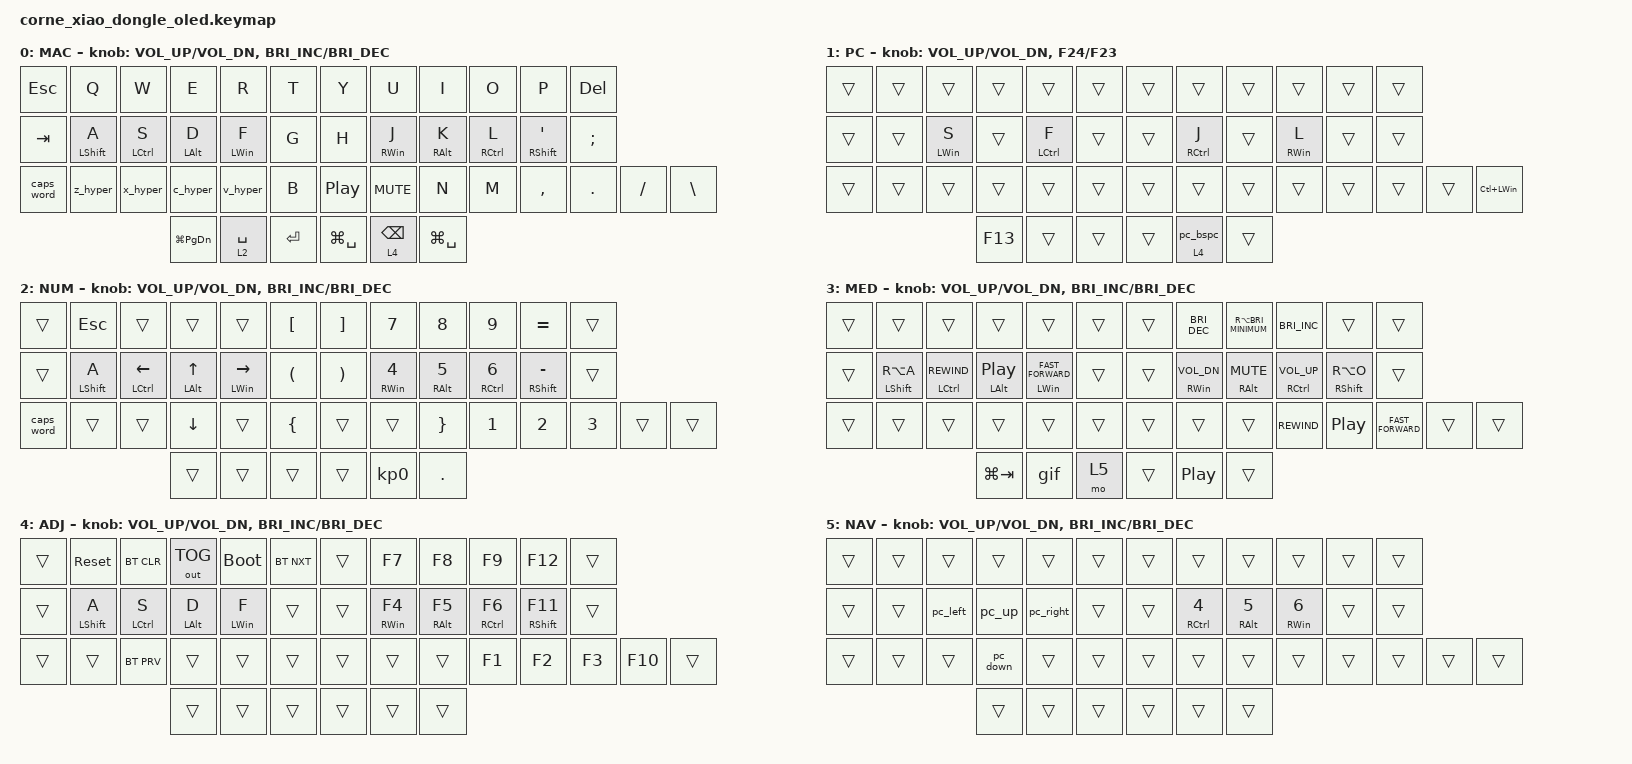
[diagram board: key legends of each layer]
//
//                                                        ▀▀▀▀▀     ▀▀▀▀▀          ▀▀█▀▀
//                                                        ▄▀▀▀▄  ▄  ▄▀▀▀▄  ▄  ▄▀▀▀▄  █  ▄▀▀▀▄
//                                                        █   █  █  █   █  █  █   █  █  █   █
//                                                         ▀▀▀   █   ▀▀▀   █   ▀▀▀   ▀   ▀▀▀
//                                                               █      ▄▄▄█▄▄▄    █   █
//                                                               ▀      █  █  █     █▄█
//                                                             ▀▀▀▀▀    █  █  █      ▀
//                                                                      ▀  ▀  ▀
//
// ▄▄▄▄▄▄▄▄▄▄▄▄▄▄▄▄▄▄▄▄▄▄▄▄▄▄▄▄▄▄▄▄▄▄▄▄▄▄▄▄▄▄▄▄▄▄▄▄▄▄▄▄▄▄▄▄▄▄▄▄▄▄▄▄▄▄▄▄▄▄▄▄▄▄▄▄▄▄▄▄▄▄▄▄▄▄▄▄▄▄▄▄▄▄▄▄▄▄▄▄▄▄▄▄▄▄▄▄▄▄▄▄▄▄▄▄▄▄▄▄▄▄▄▄▄▄▄▄▄▄▄▄▄▄▄▄▄▄▄▄▄▄▄▄▄▄▄▄▄

#include <dt-bindings/zmk/behaviors.h>
#include <behaviors.dtsi>
#include <dt-bindings/zmk/bt.h>
#include <dt-bindings/zmk/keys.h>
#include <dt-bindings/zmk/outputs.h>

#define BASE 0
#define PC 1
#define NUM_NAV 2
#define SYM 3
#define ADJ 4
#define PC_NAV 5

&mt {
    quick-tap-ms = <150>;
    flavor = "balanced";
    tapping-term-ms = <200>;
};

&lt {
    quick-tap-ms = <150>;
    flavor = "balanced";
    tapping-term-ms = <200>;
};

/ {
    combos {
        compatible = "zmk,combos";

        combo_esc {
            timeout-ms = <50>;
            key-positions = <1 2>;
            bindings = <&kp ESC>;
        };

        combo_tvp {
            timeout-ms = <100>;
            key-positions = <14 15 16>;
            bindings = <&tog 0>;
        };

        combo_studio_unlock {
            timeout-ms = <250>;
            key-positions = <1 10>;
            bindings = <&studio_unlock>;
        };
    };

    macros {
        gif: gif {
            label = "giphy";
            compatible = "zmk,behavior-macro";
            #binding-cells = <0>;
            bindings =
                <&macro_press>,
                <&kp LSHFT>,
                <&macro_tap>,
                <&kp N2>,
                <&macro_release>,
                <&kp LSHFT>,
                <&macro_tap>,
                <&kp G &kp I &kp F>;
        };

        delete_line_start_lctrl: delete_line_start_lctrl {
            label = "DELETE_LINE_START_LCTRL";
            compatible = "zmk,behavior-macro";
            #binding-cells = <0>;
            bindings =
                <&macro_press>,
                <&kp LSHFT>,
                <&macro_tap>,
                <&kp HOME>,
                <&macro_release>,
                <&kp LSHFT>,
                <&macro_tap>,
                <&kp BACKSPACE>;
        };

        delete_line_start_rctrl: delete_line_start_rctrl {
            label = "DELETE_LINE_START_RCTRL";
            compatible = "zmk,behavior-macro";
            #binding-cells = <0>;
            bindings =
                <&macro_press>,
                <&kp LSHFT>,
                <&macro_tap>,
                <&kp HOME>,
                <&macro_release>,
                <&kp LSHFT>,
                <&macro_tap>,
                <&kp BACKSPACE>;
        };

        hyper_z_action: hyper_z_action {
            label = "HYPER_Z_ACTION";
            compatible = "zmk,behavior-macro";
            #binding-cells = <0>;
            bindings = <&macro_tap>, <&kp LC(LS(LA(LG(Z))))>;
        };

        hyper_x_action: hyper_x_action {
            label = "HYPER_X_ACTION";
            compatible = "zmk,behavior-macro";
            #binding-cells = <0>;
            bindings = <&macro_tap>, <&kp LC(LS(LA(LG(X))))>;
        };

        hyper_c_action: hyper_c_action {
            label = "HYPER_C_ACTION";
            compatible = "zmk,behavior-macro";
            #binding-cells = <0>;
            bindings = <&macro_tap>, <&kp LC(LS(LA(LG(C))))>;
        };

        hyper_v_action: hyper_v_action {
            label = "HYPER_V_ACTION";
            compatible = "zmk,behavior-macro";
            #binding-cells = <0>;
            bindings = <&macro_tap>, <&kp LC(LS(LA(LG(V))))>;
        };
    };

    behaviors {
        // A mod-morph masks modifiers listed in `mods` by default. Shift is
        // deliberately omitted from the PC navigation morphs so selection
        // remains active across repeated arrow presses.

        bspc_del: bspc_del {
            compatible = "zmk,behavior-mod-morph";
            label = "BSPC_DEL";
            bindings = <&kp BACKSPACE>, <&kp DELETE>;

            #binding-cells = <0>;
            mods = <(MOD_LSFT|MOD_RSFT)>;
        };

        z_hyper_hold: z_hyper_hold {
            compatible = "zmk,behavior-hold-tap";
            label = "Z_HYPER_HOLD";
            #binding-cells = <2>;
            flavor = "tap-preferred";
            tapping-term-ms = <200>;
            bindings = <&hyper_z_action &none>;
        };

        z_hyper: z_hyper {
            compatible = "zmk,behavior-tap-dance";
            label = "Z_HYPER";
            #binding-cells = <0>;
            tapping-term-ms = <200>;
            bindings = <&kp Z>, <&z_hyper_hold 0 0>;
        };

        x_hyper_hold: x_hyper_hold {
            compatible = "zmk,behavior-hold-tap";
            label = "X_HYPER_HOLD";
            #binding-cells = <2>;
            flavor = "tap-preferred";
            tapping-term-ms = <300>;
            bindings = <&hyper_x_action &none>;
        };

        x_hyper: x_hyper {
            compatible = "zmk,behavior-tap-dance";
            label = "X_HYPER";
            #binding-cells = <0>;
            tapping-term-ms = <300>;
            bindings = <&kp X>, <&x_hyper_hold 0 0>;
        };

        c_hyper_hold: c_hyper_hold {
            compatible = "zmk,behavior-hold-tap";
            label = "C_HYPER_HOLD";
            #binding-cells = <2>;
            flavor = "tap-preferred";
            tapping-term-ms = <200>;
            bindings = <&hyper_c_action &none>;
        };

        c_hyper: c_hyper {
            compatible = "zmk,behavior-tap-dance";
            label = "C_HYPER";
            #binding-cells = <0>;
            tapping-term-ms = <200>;
            bindings = <&kp C>, <&c_hyper_hold 0 0>;
        };

        v_hyper_hold: v_hyper_hold {
            compatible = "zmk,behavior-hold-tap";
            label = "V_HYPER_HOLD";
            #binding-cells = <2>;
            flavor = "tap-preferred";
            tapping-term-ms = <200>;
            bindings = <&hyper_v_action &none>;
        };

        v_hyper: v_hyper {
            compatible = "zmk,behavior-tap-dance";
            label = "V_HYPER";
            #binding-cells = <0>;
            tapping-term-ms = <200>;
            bindings = <&kp V>, <&v_hyper_hold 0 0>;
        };

        pc_left_alt: pc_left_alt {
            compatible = "zmk,behavior-mod-morph";
            #binding-cells = <0>;
            bindings = <&kp LEFT>, <&kp LC(LEFT)>;

            mods = <(MOD_LALT|MOD_RALT)>;
        };

        pc_left: pc_left {
            compatible = "zmk,behavior-mod-morph";
            #binding-cells = <0>;
            bindings = <&pc_left_alt>, <&kp HOME>;

            mods = <(MOD_LCTL|MOD_RCTL)>;
        };

        pc_right_alt: pc_right_alt {
            compatible = "zmk,behavior-mod-morph";
            #binding-cells = <0>;
            bindings = <&kp RIGHT>, <&kp LC(RIGHT)>;

            mods = <(MOD_LALT|MOD_RALT)>;
        };

        pc_right: pc_right {
            compatible = "zmk,behavior-mod-morph";
            #binding-cells = <0>;
            bindings = <&pc_right_alt>, <&kp END>;

            mods = <(MOD_LCTL|MOD_RCTL)>;
        };

        pc_up_alt: pc_up_alt {
            compatible = "zmk,behavior-mod-morph";
            #binding-cells = <0>;
            bindings = <&kp UP>, <&kp LC(UP)>;

            mods = <(MOD_LALT|MOD_RALT)>;
        };

        pc_up: pc_up {
            compatible = "zmk,behavior-mod-morph";
            #binding-cells = <0>;
            bindings = <&pc_up_alt>, <&kp LC(HOME)>;

            mods = <(MOD_LCTL|MOD_RCTL)>;
        };

        pc_down_alt: pc_down_alt {
            compatible = "zmk,behavior-mod-morph";
            #binding-cells = <0>;
            bindings = <&kp DOWN>, <&kp LC(DOWN)>;

            mods = <(MOD_LALT|MOD_RALT)>;
        };

        pc_down: pc_down {
            compatible = "zmk,behavior-mod-morph";
            #binding-cells = <0>;
            bindings = <&pc_down_alt>, <&kp LC(END)>;

            mods = <(MOD_LCTL|MOD_RCTL)>;
        };

        pc_bspc_shift: pc_bspc_shift {
            compatible = "zmk,behavior-mod-morph";
            #binding-cells = <0>;
            bindings = <&kp BACKSPACE>, <&kp DELETE>;

            mods = <(MOD_LSFT|MOD_RSFT)>;
        };

        pc_bspc_alt: pc_bspc_alt {
            compatible = "zmk,behavior-mod-morph";
            #binding-cells = <0>;
            bindings = <&pc_bspc_shift>, <&kp LC(BACKSPACE)>;

            mods = <(MOD_LALT|MOD_RALT)>;
        };

        pc_bspc_rctrl: pc_bspc_rctrl {
            compatible = "zmk,behavior-mod-morph";
            #binding-cells = <0>;
            bindings = <&pc_bspc_alt>, <&delete_line_start_rctrl>;

            mods = <MOD_RCTL>;
        };

        pc_bspc: pc_bspc {
            compatible = "zmk,behavior-mod-morph";
            #binding-cells = <0>;
            bindings = <&pc_bspc_rctrl>, <&delete_line_start_lctrl>;

            mods = <MOD_LCTL>;
        };

        pc_bspc_lt: pc_bspc_layer_tap {
            compatible = "zmk,behavior-hold-tap";
            #binding-cells = <2>;
            flavor = "tap-preferred";
            tapping-term-ms = <200>;
            bindings = <&mo>, <&pc_bspc>;
        };
    };

    conditional_layers {
        compatible = "zmk,conditional-layers";

        pc_nav {
            if-layers = <1 2>;
            then-layer = <5>;
        };
    };

    keymap {
        compatible = "zmk,keymap";

        // ▄▄▄▄▄▄▄▄▄▄▄▄▄▄▄▄▄▄▄▄▄▄▄▄▄▄▄▄▄▄▄▄▄▄▄▄▄▄▄▄▄▄▄▄▄▄▄▄▄▄▄▄▄▄▄▄▄▄▄▄▄▄▄▄▄▄▄▄▄▄▄▄▄▄▄▄▄▄▄▄▄▄▄▄▄▄▄▄▄▄▄▄▄▄▄▄▄▄▄▄▄▄▄▄▄▄▄▄▄▄▄▄▄▄▄▄▄▄▄▄▄▄▄▄▄▄▄▄▄▄▄▄▄▄▄▄▄▄▄▄▄▄▄▄▄▄▄▄▄

        base_layer {
            display-name = "MAC";
            sensor-bindings = <&inc_dec_kp C_VOL_UP C_VOL_DN &inc_dec_kp C_BRIGHTNESS_INC C_BRIGHTNESS_DEC>;

            // ┏━━━━━━━━━━━━━━━━━━━━━━━━━━━━━━━━━━━━━━━┓

            label = "MAC";

            // ┗━━━━━━━━━━━━━━━━━━━━━━━━━━━━━━━━━━━━━━━┛
            //             ┏━━━━━━━━━━━┳━━━━━━━━━━━┳━━━━━━━━━━━┳━━━━━━━━━━━┳━━━━━━━━━━━┓   ┏━━━━━━━━━━━┳━━━━━━━━━━━┳━━━━━━━━━━━┳━━━━━━━━━━━┳━━━━━━━━━━━┓
            //             ┃     Q     ┃     W     ┃     F     ┃     P     ┃     G     ┃   ┃     J     ┃     L     ┃     U     ┃     Y     ┃     ;     ┃
            //             ┣━━━━━━━━━━━╋━━━━━━━━━━━╋━━━━━━━━━━━╋━━━━━━━━━━━╋━━━━━━━━━━━┫   ┣━━━━━━━━━━━╋━━━━━━━━━━━╋━━━━━━━━━━━╋━━━━━━━━━━━╋━━━━━━━━━━━┫
            //             ┃     A     ┃     R     ┃     S     ┃     T     ┃     D     ┃   ┃     H     ┃     N     ┃     E     ┃     I     ┃     O     ┃
            // ┏━━━━━━━━━━━╋━━━━━━━━━━━╋━━━━━━━━━━━╋━━━━━━━━━━━╋━━━━━━━━━━━╋━━━━━━━━━━━┫   ┣━━━━━━━━━━━╋━━━━━━━━━━━╋━━━━━━━━━━━╋━━━━━━━━━━━╋━━━━━━━━━━━╋━━━━━━━━━━━┓
            // ┃     Q     ┃     Z     ┃     X     ┃     C     ┃     V     ┃     B     ┃   ┃     K     ┃     M     ┃     ,     ┃     .     ┃     /     ┃     \     ┃
            // ┗━━━━━━━━━━━┻━━━━━━━━━━━┻━━━━━━━━━━━╋━━━━━━━━━━━╋━━━━━━━━━━━╋━━━━━━━━━━━┫   ┣━━━━━━━━━━━╋━━━━━━━━━━━╋━━━━━━━━━━━╋━━━━━━━━━━━┻━━━━━━━━━━━┻━━━━━━━━━━━┛
            //                                     ┃    DEL    ┃    TAB    ┃    SPC    ┃   ┃   ENTER   ┃           ┃   BSPC    ┃
            //                                     ┗━━━━━━━━━━━┻━━━━━━━━━━━┻━━━━━━━━━━━┛   ┗━━━━━━━━━━━┻━━━━━━━━━━━┻━━━━━━━━━━━┛

            bindings = <
&kp ESC     &kp Q             &kp W               &kp E              &kp R        &kp T       &kp Y          &kp U            &kp I            &kp O                &kp P                       &kp DELETE
&kp TAB     &mt LEFT_SHIFT A  &mt LEFT_CONTROL S  &mt LEFT_ALT D     &mt LWIN F   &kp G       &kp H          &mt RWIN J       &mt RIGHT_ALT K  &mt RIGHT_CONTROL L  &mt RIGHT_SHIFT APOSTROPHE  &kp SEMICOLON
&caps_word  &z_hyper          &x_hyper            &c_hyper           &v_hyper     &kp B       &kp C_PP       &kp K_MUTE       &kp N            &kp M                &kp COMMA                   &kp DOT        &kp SLASH  &kp BSLH
                                                  &kp LG(PAGE_DOWN)  &lt 2 SPACE  &kp RETURN  &kp LG(SPACE)  &lt 4 BACKSPACE  &kp LG(SPACE)
            >;
        };

        pc_layer {
            display-name = "PC";
            sensor-bindings = <&inc_dec_kp C_VOL_UP C_VOL_DN &inc_dec_kp F24 F23>;
            bindings = <
&trans  &trans  &trans      &trans   &trans       &trans  &trans  &trans           &trans  &trans      &trans  &trans
&trans  &trans  &mt LWIN S  &trans   &mt LCTRL F  &trans  &trans  &mt RCTRL J      &trans  &mt RWIN L  &trans  &trans
&trans  &trans  &trans      &trans   &trans       &trans  &trans  &trans           &trans  &trans      &trans  &trans  &trans  &kp LC(LWIN)
                            &kp F13  &trans       &trans  &trans  &pc_bspc_lt 4 0  &trans
            >;
        };

        num {
            display-name = "NUM";
            sensor-bindings = <&inc_dec_kp C_VOL_UP C_VOL_DN &inc_dec_kp C_BRIGHTNESS_INC C_BRIGHTNESS_DEC>;
            bindings = <
&trans      &kp ESC           &trans                 &trans           &trans          &kp LBKT        &kp RBKT               &kp NUMBER_7       &kp NUMBER_8            &kp NUMBER_9                &kp EQUAL              &trans
&trans      &mt LEFT_SHIFT A  &mt LEFT_CONTROL LEFT  &mt LEFT_ALT UP  &mt LWIN RIGHT  &kp LPAR        &kp RIGHT_PARENTHESIS  &mt RWIN NUMBER_4  &mt RIGHT_ALT NUMBER_5  &mt RIGHT_CONTROL NUMBER_6  &mt RIGHT_SHIFT MINUS  &trans
&caps_word  &trans            &trans                 &kp DOWN         &trans          &kp LEFT_BRACE  &trans                 &trans             &kp RBRC                &kp NUMBER_1                &kp NUMBER_2           &kp NUMBER_3  &trans  &trans
                                                     &trans           &trans          &trans          &trans                 &kp KP_NUMBER_0    &kp DOT
            >;
        };

        media_layer {
            display-name = "MED";
            sensor-bindings = <&inc_dec_kp C_VOL_UP C_VOL_DN &inc_dec_kp C_BRIGHTNESS_INC C_BRIGHTNESS_DEC>;

            // ┏━━━━━━━━━━━━━━━━━━━━━━━━━━━━━━━━━━━━━━━┓

            label = "MED";

            // ┗━━━━━━━━━━━━━━━━━━━━━━━━━━━━━━━━━━━━━━━┛
            //             ┏━━━━━━━━━━━┳━━━━━━━━━━━┳━━━━━━━━━━━┳━━━━━━━━━━━┳━━━━━━━━━━━┓   ┏━━━━━━━━━━━┳━━━━━━━━━━━┳━━━━━━━━━━━┳━━━━━━━━━━━┳━━━━━━━━━━━┓
            //             ┃     !     ┃     @     ┃     #     ┃     $     ┃     %     ┃   ┃     ˆ     ┃     &     ┃     Ü     ┃     '     ┃     "     ┃
            //             ┣━━━━━━━━━━━╋━━━━━━━━━━━╋━━━━━━━━━━━╋━━━━━━━━━━━╋━━━━━━━━━━━┫   ┣━━━━━━━━━━━╋━━━━━━━━━━━╋━━━━━━━━━━━╋━━━━━━━━━━━╋━━━━━━━━━━━┫
            //             ┃     Ä     ┃           ┃    SZ     ┃           ┃           ┃   ┃   MUTE    ┃   YEN     ┃   EURO    ┃  POUND    ┃     Ö     ┃
            // ┏━━━━━━━━━━━╋━━━━━━━━━━━╋━━━━━━━━━━━╋━━━━━━━━━━━╋━━━━━━━━━━━╋━━━━━━━━━━━┫   ┣━━━━━━━━━━━╋━━━━━━━━━━━╋━━━━━━━━━━━╋━━━━━━━━━━━╋━━━━━━━━━━━╋━━━━━━━━━━━┓
            // ┃           ┃  EMAIL1   ┃  EMAIL2   ┃           ┃           ┃           ┃   ┃   VOL-    ┃   VOL+    ┃   LAST    ┃   NEXT    ┃     \     ┃           ┃
            // ┗━━━━━━━━━━━┻━━━━━━━━━━━┻━━━━━━━━━━━╋━━━━━━━━━━━╋━━━━━━━━━━━╋━━━━━━━━━━━┫   ┣━━━━━━━━━━━╋━━━━━━━━━━━╋━━━━━━━━━━━╋━━━━━━━━━━━┻━━━━━━━━━━━┻━━━━━━━━━━━┛
            //                                     ┃           ┃    GIF    ┃    ADJ    ┃   ┃           ┃           ┃           ┃
            //                                     ┗━━━━━━━━━━━┻━━━━━━━━━━━┻━━━━━━━━━━━┛   ┗━━━━━━━━━━━┻━━━━━━━━━━━┻━━━━━━━━━━━┛

            bindings = <
&trans  &trans                &trans                     &trans                     &trans                   &trans  &trans  &kp C_BRIGHTNESS_DEC  &kp RA(C_BRIGHTNESS_MINIMUM)  &kp C_BRIGHTNESS_INC        &trans                 &trans
&trans  &mt LEFT_SHIFT RA(A)  &mt LEFT_CONTROL C_REWIND  &mt LEFT_ALT C_PLAY_PAUSE  &mt LWIN C_FAST_FORWARD  &trans  &trans  &mt RWIN C_VOL_DN     &mt RIGHT_ALT K_MUTE          &mt RIGHT_CONTROL C_VOL_UP  &mt RIGHT_SHIFT RA(O)  &trans
&trans  &trans                &trans                     &trans                     &trans                   &trans  &trans  &trans                &trans                        &kp C_REWIND                &kp C_PLAY_PAUSE       &kp C_FAST_FORWARD  &trans  &trans
                                                         &kp LG(TAB)                &gif                     &mo 5   &trans  &kp C_PP              &trans
            >;
        };

        adjust_layer {
            display-name = "ADJ";
            sensor-bindings = <&inc_dec_kp C_VOL_UP C_VOL_DN &inc_dec_kp C_BRIGHTNESS_INC C_BRIGHTNESS_DEC>;

            // ┏━━━━━━━━━━━━━━━━━━━━━━━━━━━━━━━━━━━━━━━┓

            label = "ADJ";

            // ┗━━━━━━━━━━━━━━━━━━━━━━━━━━━━━━━━━━━━━━━┛
            //             ┏━━━━━━━━━━━┳━━━━━━━━━━━┳━━━━━━━━━━━┳━━━━━━━━━━━┳━━━━━━━━━━━┓   ┏━━━━━━━━━━━┳━━━━━━━━━━━┳━━━━━━━━━━━┳━━━━━━━━━━━┳━━━━━━━━━━━┓
            //             ┃   RESET   ┃ BT CLEAR  ┃  OUT TOG  ┃           ┃           ┃   ┃           ┃    F7     ┃    F8     ┃    F9     ┃    F12    ┃
            //             ┣━━━━━━━━━━━╋━━━━━━━━━━━╋━━━━━━━━━━━╋━━━━━━━━━━━╋━━━━━━━━━━━┫   ┣━━━━━━━━━━━╋━━━━━━━━━━━╋━━━━━━━━━━━╋━━━━━━━━━━━╋━━━━━━━━━━━┫
            //             ┃ BOOTLOAD  ┃ BT NEXT   ┃           ┃           ┃           ┃   ┃           ┃    F4     ┃    F5     ┃    F6     ┃    F11    ┃
            // ┏━━━━━━━━━━━╋━━━━━━━━━━━╋━━━━━━━━━━━╋━━━━━━━━━━━╋━━━━━━━━━━━╋━━━━━━━━━━━┫   ┣━━━━━━━━━━━╋━━━━━━━━━━━╋━━━━━━━━━━━╋━━━━━━━━━━━╋━━━━━━━━━━━╋━━━━━━━━━━━┓
            // ┃           ┃           ┃ BT PREV   ┃           ┃           ┃           ┃   ┃           ┃    F1     ┃    F2     ┃    F3     ┃    F10    ┃           ┃
            // ┗━━━━━━━━━━━┻━━━━━━━━━━━┻━━━━━━━━━━━╋━━━━━━━━━━━╋━━━━━━━━━━━╋━━━━━━━━━━━┫   ┣━━━━━━━━━━━╋━━━━━━━━━━━╋━━━━━━━━━━━╋━━━━━━━━━━━┻━━━━━━━━━━━┻━━━━━━━━━━━┛
            //                                     ┃           ┃           ┃           ┃   ┃           ┃           ┃           ┃
            //                                     ┗━━━━━━━━━━━┻━━━━━━━━━━━┻━━━━━━━━━━━┛   ┗━━━━━━━━━━━┻━━━━━━━━━━━┻━━━━━━━━━━━┛

            bindings = <
&trans  &sys_reset        &bt BT_CLR          &out OUT_TOG    &bootloader  &bt BT_NXT  &trans  &kp F7       &kp F8            &kp F9                &kp F12              &trans
&trans  &mt LEFT_SHIFT A  &mt LEFT_CONTROL S  &mt LEFT_ALT D  &mt LWIN F   &trans      &trans  &mt RWIN F4  &mt RIGHT_ALT F5  &mt RIGHT_CONTROL F6  &mt RIGHT_SHIFT F11  &trans
&trans  &trans            &bt BT_PRV          &trans          &trans       &trans      &trans  &trans       &trans            &kp F1                &kp F2               &kp F3  &kp F10  &trans
                                              &trans          &trans       &trans      &trans  &trans       &trans
            >;
        };

        pc_nav_layer {
            display-name = "NAV";
            sensor-bindings = <&inc_dec_kp C_VOL_UP C_VOL_DN &inc_dec_kp C_BRIGHTNESS_INC C_BRIGHTNESS_DEC>;
            bindings = <
&trans  &trans  &trans    &trans    &trans     &trans  &trans  &trans              &trans             &trans             &trans  &trans
&trans  &trans  &pc_left  &pc_up    &pc_right  &trans  &trans  &mt RCTRL NUMBER_4  &mt RALT NUMBER_5  &mt RWIN NUMBER_6  &trans  &trans
&trans  &trans  &trans    &pc_down  &trans     &trans  &trans  &trans              &trans             &trans             &trans  &trans  &trans  &trans
                          &trans    &trans     &trans  &trans  &trans              &trans
            >;
        };
    };
};
